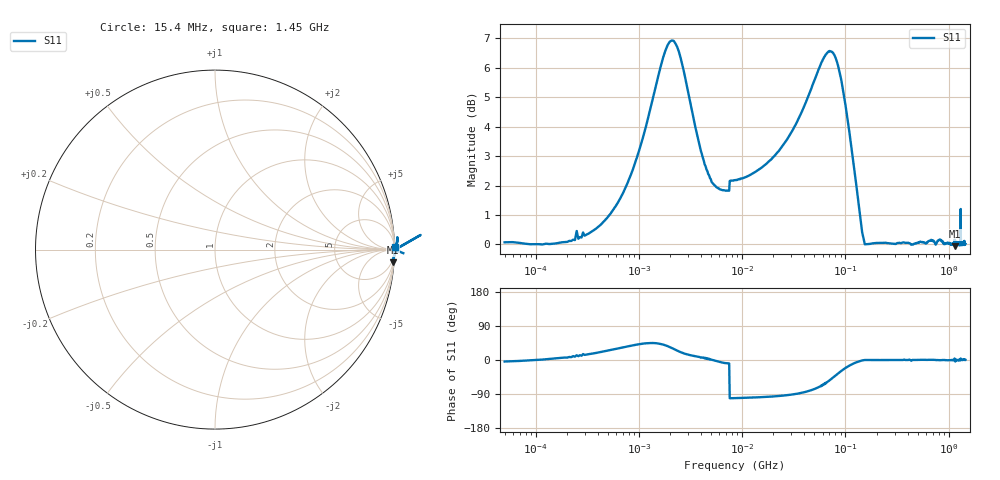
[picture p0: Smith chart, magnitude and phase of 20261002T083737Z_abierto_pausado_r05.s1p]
! piloto_saltos / abierto_pausado / r05
# HZ S RI R 50
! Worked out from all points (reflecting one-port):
!   501 points, 50 kHz to 1.45 GHz, reference 50 ohm
!   lowest |S11| = -0.1 dB at 1.157 GHz (marker M1), VSWR 289.56, Z = 135 - j1.39e+03 ohm
!   phase of S11 starts at -4 deg and turns +5 deg over the sweep
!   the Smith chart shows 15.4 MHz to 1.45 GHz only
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50000  1.006 -0.0699
183000  1.003 0.1047
373000  1.008 0.3269
658000  1.019 0.6265
1180000  1.147 1.111
1630000  1.49 1.351
1990000  1.83 1.239
2440000  1.961 0.8146
3430000  1.589 0.2933
4870000  1.297 0.0199
7300000  1.219 -0.1929
7750000  -0.2423 -1.26
8560000  -0.2351 -1.265
1.81e7  -0.1691 -1.373
3.16e7  -0.0108 -1.578
4.69e7  0.3378 -1.812
5.59e7  0.66 -1.884
6.49e7  1.008 -1.846
7.39e7  1.399 -1.6
8.65e7  1.651 -1.098
9.82e7  1.627 -0.6746
1e8  1.61 -0.6187
1.18e8  1.378 -0.2446
1.36e8  1.148 -0.0694
1.63e8  1.001 -0.000756
4.06e8  1.006 0.000394
1.1575e9  0.9906 -0.0707
1.45e9  1.002 0.0134
